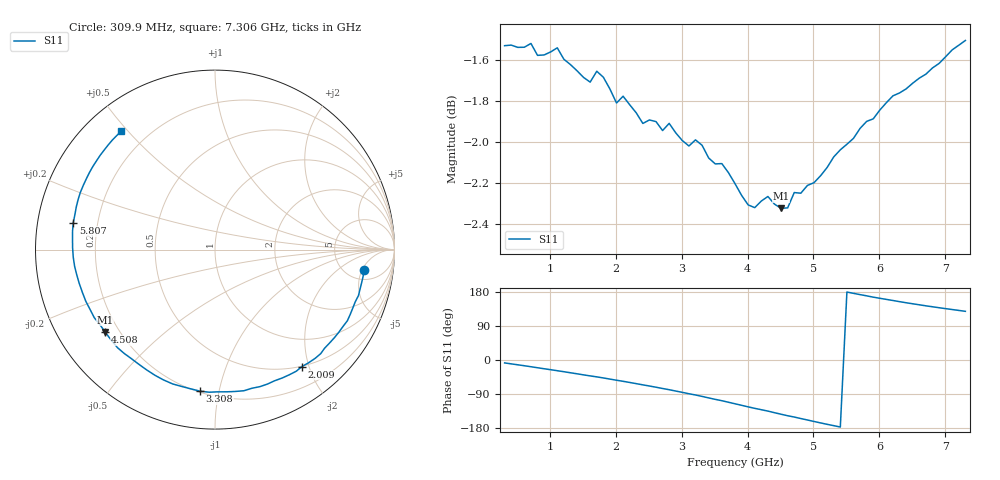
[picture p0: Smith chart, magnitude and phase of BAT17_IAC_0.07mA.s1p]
! Infineon Technologies  Discrete & RF Semiconductors
! BAT17
! IAC = 0.07 mA
! One-Port S-Parameters
# Hz  S  MA  R  50
!f  S11
!Hz  Mag  Ang
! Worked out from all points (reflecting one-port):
!   71 points, 309.9 MHz to 7.306 GHz, reference 50 ohm
!   lowest |S11| = -2.3 dB at 4.508 GHz (marker M1), VSWR 7.52, Z = 7.37 - j16.3 ohm
!   phase of S11 starts at -8 deg and turns -224 deg over the sweep
!   S11 on the Smith chart (normalised r, x): 309.9 MHz: 7.21, -5.44; 2.009 GHz: 0.49, -1.89; 3.308 GHz: 0.21, -0.88; 4.508 GHz: 0.15, -0.33; 5.807 GHz: 0.11, +0.09; 7.306 GHz: 0.11, +0.48
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3.0985e8  0.8383 -7.7
7.0965e8  0.8394 -17.8
1.10945e9  0.8373 -28.3
1.2094e9  0.832 -30.9
1.70915e9  0.8264 -44.5
2.009e9  0.8119 -53.4
2.10895e9  0.8149 -56.2
2.6087e9  0.8034 -71.8
2.8086e9  0.8027 -78.4
3.0085e9  0.795 -85.4
3.2084e9  0.7953 -92.3
3.30835e9  0.7929 -96.1
3.6082e9  0.7848 -107.4
3.8081e9  0.776 -115.5
4.008e9  0.7669 -123.7
4.30785e9  0.7705 -134.8
4.50775e9  0.7654 -143.1
4.70765e9  0.7722 -150.5
4.90755e9  0.7752 -158.3
5.2074e9  0.7831 -169.7
5.4073e9  0.7909 -176.9
5.6072e9  0.796 175.9
5.8071e9  0.8035 169.3
5.90705e9  0.8047 165.9
6.2069e9  0.8151 157.0
6.50675e9  0.8209 148.3
6.90655e9  0.83 138.0
7.30635e9  0.8408 128.5
